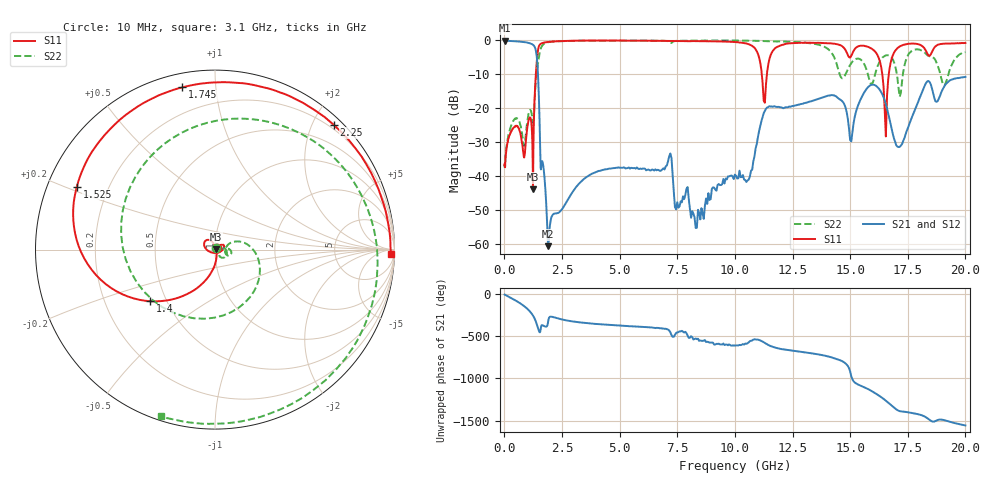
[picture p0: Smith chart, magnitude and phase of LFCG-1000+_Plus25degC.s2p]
! Mini-Circuits
! S2P DATA File Format
! Type: LOW PASS FILTER
! Model: LFCG-1000+
! All S Parameters are in dB deg format
! TEST CONDITIONS: INPUT POWER = 0 dBm @ Temperature = +25deg C
# MHz S dB R 50
!Frequency  S11 dB  S11 DEG  S21 dB  S21 DEG  S12 dB  S12 DEG  S22 dB  S22 DEG
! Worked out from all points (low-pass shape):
!   682 points, 10 MHz to 20 GHz, reference 50 ohm
!   highest |S21| = -0.13 dB at 10 MHz (marker M1); lowest = -60.8 dB at 1.9 GHz (marker M2)
!   |S21| within 3 dB of the highest: start of sweep to 1.366 GHz
!   lowest |S11| = -44.0 dB at 1.24 GHz (marker M3), VSWR 1.01, Z = 50.6 + j0.277 ohm
!   |S11| at or under -10 dB: start of sweep to 1.366 GHz; 11.17 GHz to 11.39 GHz (225.6 MHz wide, 2 % of centre); 16.39 GHz to 16.68 GHz (285.9 MHz wide, 1.73 % of centre)
!   |S22| runs from -37.6 to -0.1 dB; largest |S21 - S12| = 0.0019
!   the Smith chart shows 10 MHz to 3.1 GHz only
!   S11 on the Smith chart (normalised r, x): 10 MHz: 1.02, +0.02; 1.4 GHz: 0.41, -0.30; 1.525 GHz: 0.09, +0.22; 1.745 GHz: 0.07, +0.82; 2.25 GHz: 0.13, +2.32; 3.1 GHz: 41, -50
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10  -36.82 54.2  -0.13 -1.7  -0.13 -1.8  -37.57 53.4
660  -26.65 4.9  -0.43 -101.4  -0.43 -101.4  -24.25 -48.0
1010  -25.11 169.6  -0.76 -175.2  -0.76 -175.2  -23.34 5.9
1240  -44.05 25.9  -1.36 109.1  -1.36 109.1  -24.93 -11.6
1400  -6.73 -141.4  -4.60 9.4  -4.60 9.4  -9.66 -53.6
1525  -1.45 155.5  -23.42 -88.8  -23.42 -88.8  -3.87 120.9
1745  -0.70 101.3  -40.94 -19.6  -40.96 -19.7  -1.00 7.8
1900  -0.53 79.7  -60.77 40.4  -60.63 40.2  -0.62 -23.9
2250  -0.36 46.4  -51.10 80.3  -51.07 80.5  -0.35 -63.8
3100  -0.17 -1.4  -43.43 33.2  -43.44 33.1  -0.21 -107.8
3350  -0.16 -11.3  -41.57 25.0  -41.58 25.0  -0.18 -115.3
6700  -0.21 -78.7  -38.34 -39.5  -38.35 -39.6  -0.17 -170.3
8350  -0.31 -106.3  -55.37 -172.6  -55.42 -173.6  -0.14 165.4
10050  -0.61 -145.8  -40.00 112.0  -40.00 111.9  -0.13 139.8
11350  -12.94 -52.9  -20.23 134.1  -20.23 134.0  -0.31 115.3
13350  -0.81 164.5  -17.95 18.4  -17.95 18.3  -0.98 57.3
14500  -1.33 128.3  -17.23 -57.3  -17.24 -57.5  -9.01 -63.1
15350  -1.83 131.8  -19.14 7.5  -19.14 7.3  -5.41 94.7
16050  -3.15 102.3  -13.22 -89.0  -13.23 -89.2  -11.03 -118.4
16700  -8.80 -148.2  -23.03 141.8  -23.03 141.6  -4.60 132.4
18900  -1.19 156.8  -16.42 -48.2  -16.43 -48.5  -9.69 31.0
20000  -0.85 140.9  -10.85 -118.7  -10.85 -119.0  -3.58 164.1
